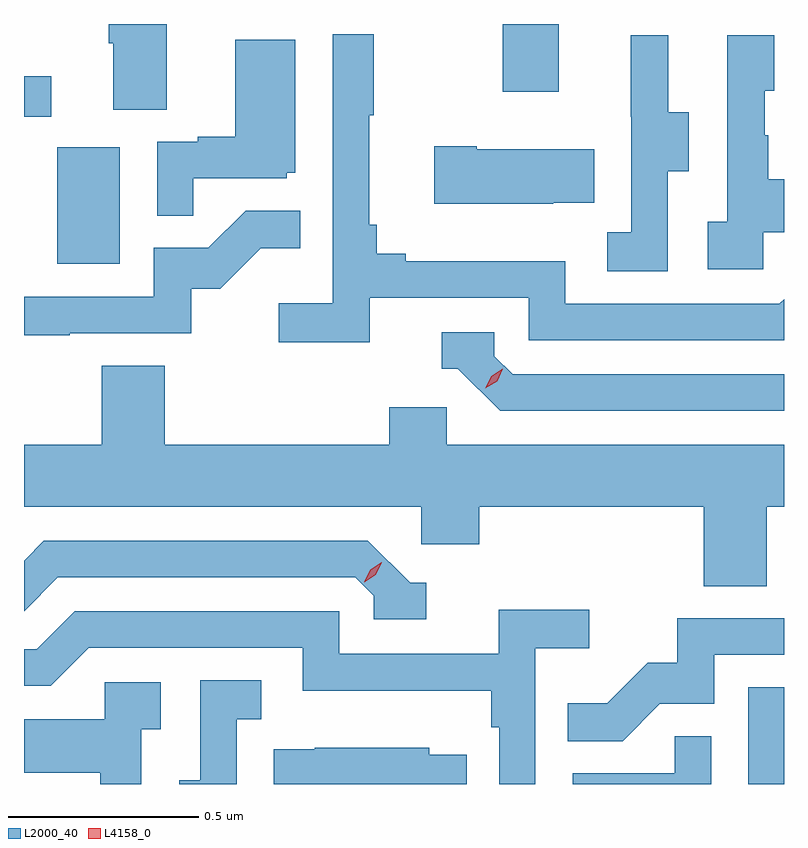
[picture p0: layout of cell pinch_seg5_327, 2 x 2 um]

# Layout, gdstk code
import gdstk
lib = gdstk.Library(unit=1e-6, precision=1e-09)
def R(c, l, rs):  # rectangles x0, y0, x1, y1
    for r in rs: c.add(gdstk.rectangle(r[:2], r[2:], *l))
def P(c, l, *ps):  # polygons
    for p in ps: c.add(gdstk.Polygon(p, *l))
L2000_40 = (2000, 40)
L4158_0 = (4158, 0)

pinch_seg5_327 = lib.new_cell('pinch_seg5_327')
R(pinch_seg5_327, L2000_40, [(926.156,884.003,926.25,884.257), (924.338,885.372,924.502,885.679), (924.25,885.759,924.322,885.865), (925.51,885.825,925.657,886.003)])
P(pinch_seg5_327, L2000_40, [(924.625,886.003),(924.473,886.003),(924.473,885.952),(924.485,885.952),(924.485,885.778),(924.625,885.778)],
  [(925.16,885.282),(925.578,885.282),(925.578,885.171),(926.25,885.171),(926.25,885.279),(926.238,885.267),(925.674,885.267),(925.674,885.379),(925.255,885.379),(925.255,885.398),(925.178,885.398),(925.178,885.475),(925.159,885.475),(925.159,885.763),(925.171,885.763),(925.171,885.976),(925.062,885.976),(925.062,885.268),(924.921,885.268),(924.921,885.166),(925.16,885.166)],
  [(925.944,885.616),(925.999,885.616),(925.999,885.771),(925.945,885.771),(925.945,885.973),(925.847,885.973),(925.847,885.759),(925.848,885.759),(925.848,885.455),(925.785,885.455),(925.785,885.352),(925.944,885.352)],
  [(926.196,885.455),(926.25,885.455),(926.25,885.595),(926.209,885.595),(926.209,885.71),(926.199,885.71),(926.199,885.828),(926.224,885.828),(926.224,885.973),(926.1,885.973),(926.1,885.482),(926.049,885.482),(926.049,885.357),(926.196,885.357)],
  [(924.695,885.597),(924.942,885.597),(924.942,885.612),(924.964,885.612),(924.964,885.961),(924.806,885.961),(924.806,885.706),(924.707,885.706),(924.707,885.693),(924.6,885.693),(924.6,885.499),(924.695,885.499)],
  [(925.643,885.533),(925.751,885.533),(925.751,885.673),(925.441,885.673),(925.441,885.681),(925.329,885.681),(925.329,885.53),(925.643,885.53)],
  [(924.371,885.189),(924.69,885.189),(924.69,885.306),(924.766,885.306),(924.873,885.413),(924.977,885.413),(924.977,885.512),(924.833,885.512),(924.735,885.414),(924.591,885.414),(924.591,885.285),(924.25,885.285),(924.25,885.184),(924.371,885.184)],
  [(926.25,885.081),(925.536,885.081),(925.488,885.129),(925.488,885.192),(925.349,885.192),(925.349,885.096),(925.392,885.096),(925.503,884.985),(926.25,884.985)],
  [(926.204,884.732),(926.25,884.732),(926.25,884.896),(925.362,884.896),(925.362,884.994),(925.211,884.994),(925.211,884.896),(924.62,884.896),(924.62,885.104),(924.455,885.104),(924.455,884.896),(924.25,884.896),(924.25,884.732),(925.296,884.732),(925.296,884.634),(925.448,884.634),(925.448,884.732),(926.039,884.732),(926.039,884.524),(926.204,884.524)],
  [(925.309,884.532),(925.266,884.532),(925.155,884.643),(924.302,884.643),(924.25,884.591),(924.25,884.458),(924.339,884.547),(925.122,884.547),(925.17,884.499),(925.17,884.436),(925.309,884.436)],
  [(925.596,884.36),(925.738,884.36),(925.738,884.462),(925.499,884.462),(925.499,884.346),(925.08,884.346),(925.08,884.457),(924.383,884.457),(924.284,884.358),(924.25,884.358),(924.25,884.262),(924.321,884.262),(924.42,884.361),(924.984,884.361),(924.984,884.249),(925.48,884.249),(925.48,884.153),(925.5,884.153),(925.5,884.003),(925.596,884.003)],
  [(925.923,884.214),(926.067,884.214),(926.067,884.343),(926.25,884.343),(926.25,884.439),(925.969,884.439),(925.969,884.322),(925.892,884.322),(925.785,884.215),(925.681,884.215),(925.681,884.116),(925.825,884.116)],
  [(924.81,884.173),(924.874,884.173),(924.874,884.276),(924.714,884.276),(924.714,884.013),(924.659,884.013),(924.659,884.003),(924.81,884.003)],
  [(924.558,884.147),(924.61,884.147),(924.61,884.271),(924.462,884.271),(924.462,884.173),(924.25,884.173),(924.25,884.033),(924.45,884.033),(924.45,884.003),(924.558,884.003)],
  [(926.058,884.129),(925.963,884.129),(925.963,884.031),(925.694,884.031),(925.694,884.003),(926.058,884.003)],
  [(925.415,884.08),(925.317,884.08),(925.317,884.098),(925.015,884.098),(925.015,884.095),(924.907,884.095),(924.907,884.003),(925.415,884.003)])
P(pinch_seg5_327, L4158_0, [(925.464,885.044),(925.464,885.044),(925.48,885.076),(925.51,885.096),(925.51,885.096),(925.51,885.096),(925.495,885.063),(925.464,885.044)],
  [(925.145,884.534),(925.145,884.534),(925.161,884.567),(925.192,884.586),(925.192,884.586),(925.192,884.586),(925.176,884.554),(925.145,884.534)])

lib.write_gds('pinch_seg5_327.gds')
